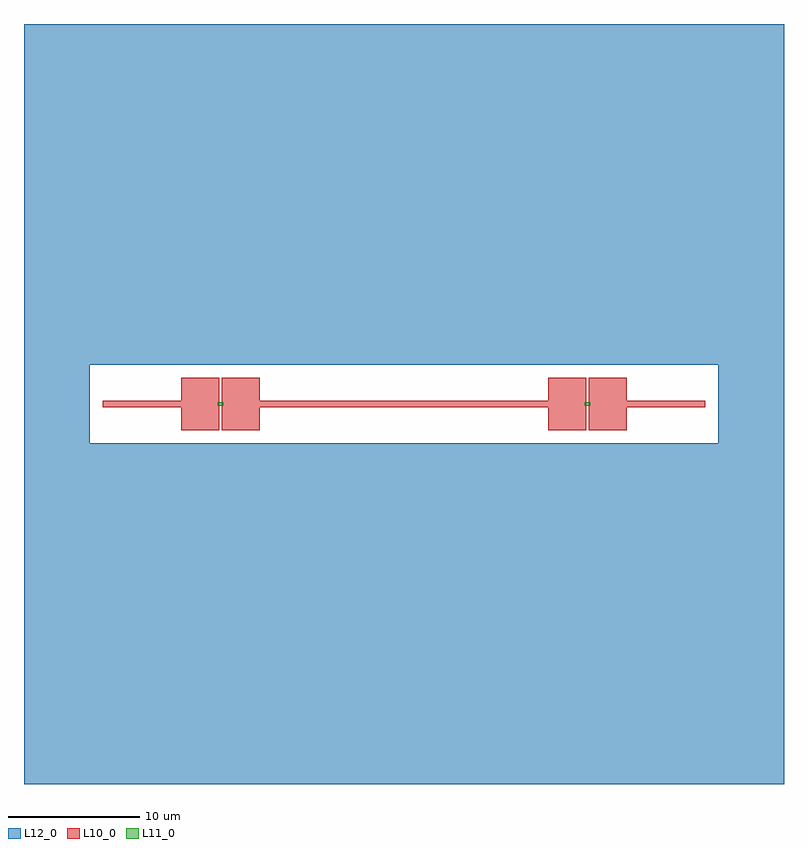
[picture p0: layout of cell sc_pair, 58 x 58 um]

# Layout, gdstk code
import gdstk
lib = gdstk.Library(unit=1e-6, precision=1e-09)
def R(c, l, rs):  # rectangles x0, y0, x1, y1
    for r in rs: c.add(gdstk.rectangle(r[:2], r[2:], *l))
L10_0 = (10, 0)
L11_0 = (11, 0)
L12_0 = (12, 0)

sc_pair = lib.new_cell('sc_pair')
R(sc_pair, L10_0, [(-17,-2,-14.1,2), (-13.9,-2,-11,2), (11,-2,13.9,2), (14.1,-2,17,2), (-5,-0.25,5,0.25)])
R(sc_pair, L11_0, [(-14.2,-0.15,-13.8,0.15), (13.8,-0.15,14.2,0.15)])
R(sc_pair, L12_0, [(-29,-29,29,-3), (-29,-3,-24,3), (24,-3,29,3), (-29,3,29,29)])
sc_pair.add(gdstk.FlexPath([(-17,0),(-23,0)], 0.5, ends="flush", simple_path=True, layer=10, datatype=0))  # L10_0
sc_pair.add(gdstk.FlexPath([(-11,0),(-5,0)], 0.5, ends="flush", simple_path=True, layer=10, datatype=0))  # L10_0
sc_pair.add(gdstk.FlexPath([(11,0),(5,0)], 0.5, ends="flush", simple_path=True, layer=10, datatype=0))  # L10_0
sc_pair.add(gdstk.FlexPath([(17,0),(23,0)], 0.5, ends="flush", simple_path=True, layer=10, datatype=0))  # L10_0

lib.write_gds('sc_pair.gds')
